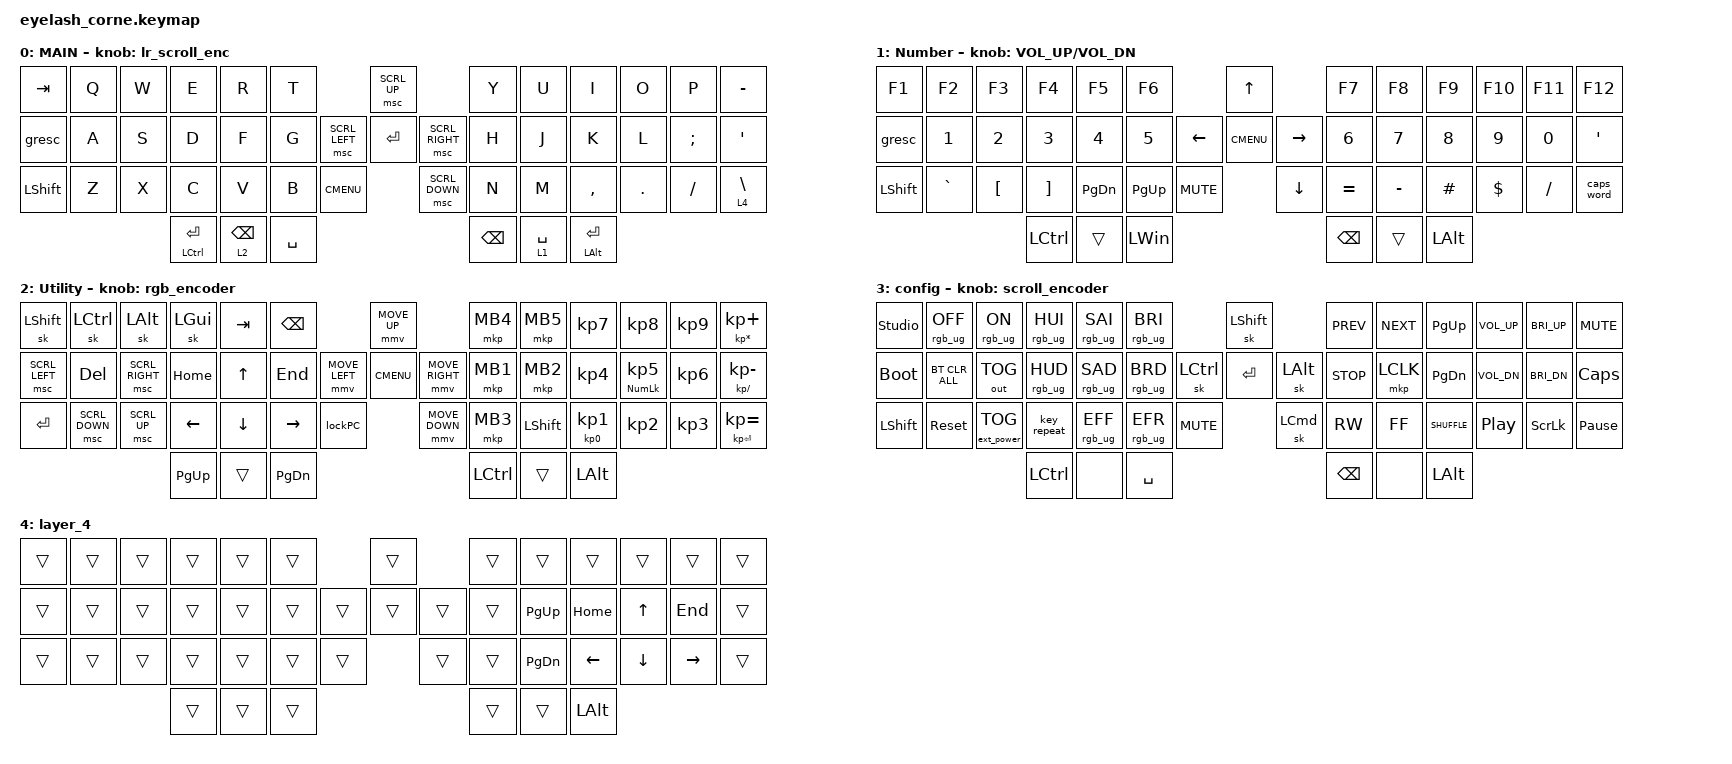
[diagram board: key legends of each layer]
#define ZMK_POINTING_DEFAULT_MOVE_VAL 600  // default: 600
#define ZMK_POINTING_DEFAULT_SCRL_VAL 10  // this setting is so whack

#include <input/processors.dtsi>
#include <zephyr/dt-bindings/input/input-event-codes.h>
#include <behaviors.dtsi>
#include <dt-bindings/zmk/bt.h>
#include <dt-bindings/zmk/ext_power.h>
#include <dt-bindings/zmk/keys.h>
#include <dt-bindings/zmk/outputs.h>
#include <dt-bindings/zmk/pointing.h>
#include <dt-bindings/zmk/rgb.h>

&mmv_input_listener { input-processors = <&zip_xy_scaler 2 1>; };

&msc_input_listener { input-processors = <&zip_scroll_scaler 2 1>; };

&msc {
    acceleration-exponent = <1>;      // 0
    time-to-max-speed-ms = <500>;       // 300
    delay-ms = <0>;                   // 0
};

&mmv {
    time-to-max-speed-ms = <700>;
    acceleration-exponent = <1>;
    trigger-period-ms = <16>;
};

&soft_off { hold-time-ms = <2000>; };

/ {
    behaviors {
        lr_scroll_enc: lr_scroll_enc {
            compatible = "zmk,behavior-sensor-rotate";
            label = "horizontal scroll";
            #sensor-binding-cells = <0>;
            bindings = <&msc SCRL_RIGHT>, <&msc SCRL_LEFT>;

            tap-ms = <100>;
        };
    };

    rgb_encoder: rgb_encoder {
        compatible = "zmk,behavior-sensor-rotate";
        #sensor-binding-cells = <0>;
        bindings = <&rgb_ug RGB_BRI>, <&rgb_ug RGB_BRD>;
    };

    scroll_encoder: scroll_encoder {
        compatible = "zmk,behavior-sensor-rotate";
        #sensor-binding-cells = <0>;
        bindings = <&msc SCRL_DOWN>, <&msc SCRL_UP>;

        tap-ms = <100>;
    };

    combos {
        compatible = "zmk,combos";

        softoff {
            bindings = <&soft_off>;
            key-positions = <1 15 29>;
        };
    };

    macros {
        lockPC: lockPC {
            compatible = "zmk,behavior-macro";
            #binding-cells = <0>;
            bindings = <&kp LG(L)>;
            label = "LOCKPC";
        };
    };

    keymap {
        compatible = "zmk,keymap";

        default_layer {
            display-name = "MAIN";
            bindings = <
&kp TAB         &kp Q  &kp W  &kp E            &kp R            &kp T                                     &msc SCRL_UP                     &kp Y          &kp U        &kp I           &kp O    &kp P     &kp MINUS
&gresc          &kp A  &kp S  &kp D            &kp F            &kp G                     &msc SCRL_LEFT  &kp ENTER       &msc SCRL_RIGHT  &kp H          &kp J        &kp K           &kp L    &kp SEMI  &kp SQT
&kp LEFT_SHIFT  &kp Z  &kp X  &kp C            &kp V            &kp B      &kp K_CMENU                    &msc SCRL_DOWN                   &kp N          &kp M        &kp COMMA       &kp DOT  &kp FSLH  &lt 4 BACKSLASH
                              &mt LCTRL ENTER  &lt 2 BACKSPACE  &kp SPACE                                                                  &kp BACKSPACE  &lt 1 SPACE  &mt LALT ENTER
            >;

            sensor-bindings = <&lr_scroll_enc>;
        };

        Rhold {
            display-name = "Number";
            bindings = <
&kp F1          &kp F2     &kp F3            &kp F4             &kp F5     &kp F6                                &kp UP                  &kp F7         &kp F8     &kp F9     &kp F10     &kp F11    &kp F12
&gresc          &kp N1     &kp N2            &kp N3             &kp N4     &kp N5                      &kp LEFT  &kp K_CMENU  &kp RIGHT  &kp N6         &kp N7     &kp N8     &kp N9      &kp N0     &kp SINGLE_QUOTE
&kp LEFT_SHIFT  &kp GRAVE  &kp LEFT_BRACKET  &kp RIGHT_BRACKET  &kp PG_DN  &kp PG_UP     &kp C_MUTE              &kp DOWN                &kp EQUAL      &kp MINUS  &kp POUND  &kp DOLLAR  &kp SLASH  &caps_word
                                             &kp LCTRL          &trans     &kp LEFT_WIN                                                  &kp BACKSPACE  &trans     &kp LALT
            >;

            sensor-bindings = <&inc_dec_kp C_VOL_UP C_VOL_DN>;
        };

        Lhold {
            display-name = "Utility";
            bindings = <
&sk LEFT_SHIFT  &sk LCTRL       &sk LEFT_ALT     &sk LGUI   &kp TAB   &kp BACKSPACE                             &mmv MOVE_UP                     &mkp MB4   &mkp MB5    &kp KP_NUMBER_7  &kp KP_N8             &kp KP_N9  &mt KP_ASTERISK KP_PLUS
&msc SCRL_LEFT  &kp DEL         &msc SCRL_RIGHT  &kp HOME   &kp UP    &kp END                   &mmv MOVE_LEFT  &kp K_CMENU     &mmv MOVE_RIGHT  &mkp MB1   &mkp MB2    &kp KP_N4        &mt KP_NUMLOCK KP_N5  &kp KP_N6  &mt KP_DIVIDE KP_MINUS
&kp ENTER       &msc SCRL_DOWN  &msc SCRL_UP     &kp LEFT   &kp DOWN  &kp RIGHT      &lockPC                    &mmv MOVE_DOWN                   &mkp MB3   &kp LSHIFT  &mt KP_N0 KP_N1  &kp KP_N2             &kp KP_N3  &mt KP_ENTER KP_EQUAL
                                                 &kp PG_UP  &trans    &kp PG_DN                                                                  &kp LCTRL  &trans      &kp LALT
            >;

            sensor-bindings = <&rgb_encoder>;
        };

        LRhold {
            display-name = "config";
            bindings = <
&studio_unlock  &rgb_ug RGB_OFF  &rgb_ug RGB_ON     &rgb_ug RGB_HUI  &rgb_ug RGB_SAI  &rgb_ug RGB_BRI                           &sk LSHIFT                &kp C_PREV     &kp C_NEXT  &kp PG_UP      &kp C_VOL_UP  &kp C_BRI_UP    &kp C_MUTE
&bootloader     &bt BT_CLR_ALL   &out OUT_TOG       &rgb_ug RGB_HUD  &rgb_ug RGB_SAD  &rgb_ug RGB_BRD                &sk LCTRL  &kp ENTER   &sk LEFT_ALT  &kp C_STOP     &mkp LCLK   &kp PG_DN      &kp C_VOL_DN  &kp C_BRI_DN    &kp CLCK
&kp LSHFT       &sys_reset       &ext_power EP_TOG  &key_repeat      &rgb_ug RGB_EFF  &rgb_ug RGB_EFR  &kp C_MUTE               &sk LCMD                  &kp C_RW       &kp C_FF    &kp C_SHUFFLE  &kp C_PP      &kp SCROLLLOCK  &kp PAUSE_BREAK
                                                    &kp LCTRL        &none            &kp SPACE                                                           &kp BACKSPACE  &none       &kp LALT
            >;

            sensor-bindings = <&scroll_encoder>;
        };

        layer_4 {
            bindings = <
&trans  &trans  &trans  &trans  &trans  &trans                    &trans          &trans  &trans     &trans    &trans    &trans     &trans
&trans  &trans  &trans  &trans  &trans  &trans            &trans  &trans  &trans  &trans  &kp PG_UP  &kp HOME  &kp UP    &kp END    &trans
&trans  &trans  &trans  &trans  &trans  &trans  &trans            &trans          &trans  &kp PG_DN  &kp LEFT  &kp DOWN  &kp RIGHT  &trans
                        &trans  &trans  &trans                                    &trans  &trans     &kp LALT
            >;
        };
    };

    conditional_layers {
        compatible = "zmk,conditional-layers";

        config {
            if-layers = <1 2>;
            then-layer = <3>;
        };
    };
};
